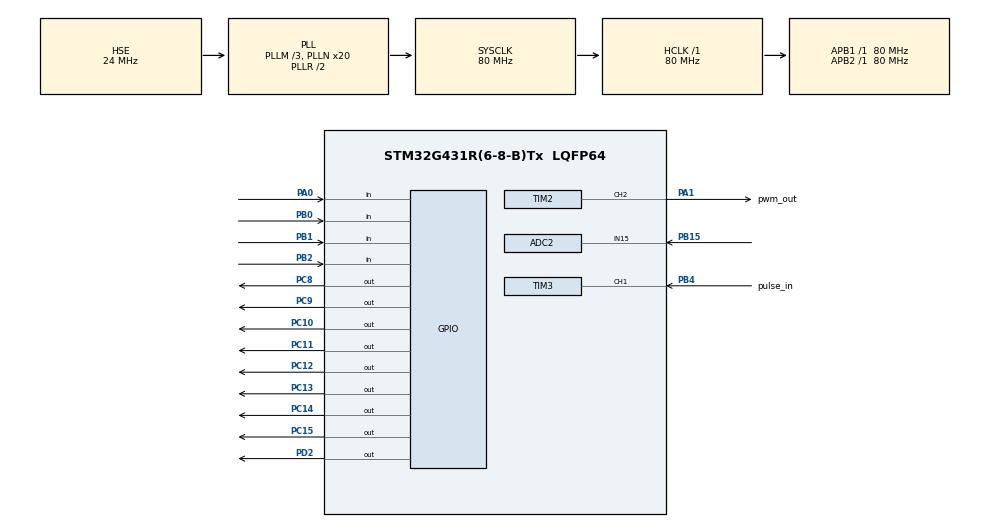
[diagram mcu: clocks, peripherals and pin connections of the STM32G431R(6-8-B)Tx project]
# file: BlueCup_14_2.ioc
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ADC2.Channel-0\#ChannelRegularConversion=ADC_CHANNEL_15
ADC2.NbrOfConversionFlag=1
ADC2.OffsetNumber-0\#ChannelRegularConversion=ADC_OFFSET_NONE
ADC2.Rank-0\#ChannelRegularConversion=1
ADC2.SamplingTime-0\#ChannelRegularConversion=ADC_SAMPLETIME_2CYCLES_5
Mcu.Family=STM32G4
Mcu.Name=STM32G431R(6-8-B)Tx
Mcu.Package=LQFP64
NVIC.PriorityGroup=NVIC_PRIORITYGROUP_4
NVIC.TIM3_IRQn=true\:0\:0\:false\:false\:true\:true\:true\:true
PA0.GPIO_Mode=GPIO_MODE_INPUT
PA0.GPIO_PuPd=GPIO_NOPULL
PA0.Signal=GPIO_Input
PA1.GPIO_Label=pwm_out
PA1.Signal=S_TIM2_CH2
PA13.Mode=Serial_Wire
PA13.Signal=SYS_JTMS-SWDIO
PA14.Mode=Serial_Wire
PA14.Signal=SYS_JTCK-SWCLK
PB0.GPIO_Mode=GPIO_MODE_INPUT
PB0.GPIO_PuPd=GPIO_NOPULL
PB0.Signal=GPIO_Input
PB1.GPIO_Mode=GPIO_MODE_INPUT
PB1.GPIO_PuPd=GPIO_NOPULL
PB1.Signal=GPIO_Input
PB15.Mode=IN15-Single-Ended
PB15.Signal=ADC2_IN15
PB2.GPIO_Mode=GPIO_MODE_INPUT
PB2.GPIO_PuPd=GPIO_NOPULL
PB2.Signal=GPIO_Input
PB4.GPIO_Label=pulse_in
PB4.Signal=S_TIM3_CH1
PC10.GPIO_ModeDefaultOutputPP=GPIO_MODE_OUTPUT_PP
PC10.GPIO_PuPd=GPIO_NOPULL
PC10.GPIO_Speed=GPIO_SPEED_FREQ_LOW
PC10.PinState=GPIO_PIN_SET
PC10.Signal=GPIO_Output
PC11.GPIO_ModeDefaultOutputPP=GPIO_MODE_OUTPUT_PP
PC11.GPIO_PuPd=GPIO_NOPULL
PC11.GPIO_Speed=GPIO_SPEED_FREQ_LOW
PC11.PinState=GPIO_PIN_SET
PC11.Signal=GPIO_Output
PC12.GPIO_ModeDefaultOutputPP=GPIO_MODE_OUTPUT_PP
PC12.GPIO_PuPd=GPIO_NOPULL
PC12.GPIO_Speed=GPIO_SPEED_FREQ_LOW
PC12.PinState=GPIO_PIN_SET
PC12.Signal=GPIO_Output
PC13.GPIO_ModeDefaultOutputPP=GPIO_MODE_OUTPUT_PP
PC13.GPIO_PuPd=GPIO_NOPULL
PC13.GPIO_Speed=GPIO_SPEED_FREQ_LOW
PC13.PinState=GPIO_PIN_SET
PC13.Signal=GPIO_Output
PC14-OSC32_IN.GPIO_ModeDefaultOutputPP=GPIO_MODE_OUTPUT_PP
PC14-OSC32_IN.GPIO_PuPd=GPIO_NOPULL
PC14-OSC32_IN.GPIO_Speed=GPIO_SPEED_FREQ_LOW
PC14-OSC32_IN.PinState=GPIO_PIN_SET
PC14-OSC32_IN.Signal=GPIO_Output
PC15-OSC32_OUT.GPIO_ModeDefaultOutputPP=GPIO_MODE_OUTPUT_PP
PC15-OSC32_OUT.GPIO_PuPd=GPIO_NOPULL
PC15-OSC32_OUT.GPIO_Speed=GPIO_SPEED_FREQ_LOW
PC15-OSC32_OUT.PinState=GPIO_PIN_SET
PC15-OSC32_OUT.Signal=GPIO_Output
PC8.GPIO_ModeDefaultOutputPP=GPIO_MODE_OUTPUT_PP
PC8.GPIO_PuPd=GPIO_NOPULL
PC8.GPIO_Speed=GPIO_SPEED_FREQ_LOW
PC8.PinState=GPIO_PIN_SET
PC8.Signal=GPIO_Output
PC9.GPIO_ModeDefaultOutputPP=GPIO_MODE_OUTPUT_PP
PC9.GPIO_PuPd=GPIO_NOPULL
PC9.GPIO_Speed=GPIO_SPEED_FREQ_LOW
PC9.PinState=GPIO_PIN_SET
PC9.Signal=GPIO_Output
PD2.PinState=GPIO_PIN_RESET
PD2.Signal=GPIO_Output
PF0-OSC_IN.Mode=HSE-External-Oscillator
PF0-OSC_IN.Signal=RCC_OSC_IN
PF1-OSC_OUT.Mode=HSE-External-Oscillator
PF1-OSC_OUT.Signal=RCC_OSC_OUT
ProjectManager.HeapSize=0x200
ProjectManager.StackSize=0x400
ProjectManager.TargetToolchain=MDK-ARM V5.32
RCC.ADC12Freq_Value=80000000
RCC.AHBFreq_Value=80000000
RCC.APB1Freq_Value=80000000
RCC.APB1TimFreq_Value=80000000
RCC.APB2Freq_Value=80000000
RCC.APB2TimFreq_Value=80000000
RCC.CortexFreq_Value=80000000
RCC.EXTERNAL_CLOCK_VALUE=12288000
RCC.HCLKFreq_Value=80000000
RCC.HSE_VALUE=24000000
RCC.HSI48_VALUE=48000000
RCC.HSI_VALUE=16000000
RCC.LSE_VALUE=32768
RCC.PLLM=RCC_PLLM_DIV3
RCC.PLLN=20
RCC.PLLSourceVirtual=RCC_PLLSOURCE_HSE
RCC.SYSCLKFreq_VALUE=80000000
RCC.SYSCLKSource=RCC_SYSCLKSOURCE_PLLCLK
RCC.USBFreq_Value=80000000
RCC.VCOOutputFreq_Value=160000000
SH.S_TIM2_CH2.0=TIM2_CH2,PWM Generation2 CH2
SH.S_TIM3_CH1.0=TIM3_CH1,Input_Capture1_from_TI1
TIM2.AutoReloadPreload=TIM_AUTORELOAD_PRELOAD_ENABLE
TIM2.Channel-PWM\ Generation2\ CH2=TIM_CHANNEL_2
TIM2.PeriodNoDither=250-1
TIM2.Prescaler=80-1
TIM2.PulseNoDither_2=0
TIM3.Channel-Input_Capture1_from_TI1=TIM_CHANNEL_1
TIM3.ICFilter_CH1=15
TIM3.Prescaler=80-1
VP_SYS_VS_DBSignals.Mode=DisableDeadBatterySignals
VP_TIM2_VS_ClockSourceINT.Mode=Internal
VP_TIM3_VS_ClockSourceINT.Mode=Internal
board=custom

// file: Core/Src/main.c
/* USER CODE BEGIN Header */
/**
  ******************************************************************************
  * @file           : main.c
  * @brief          : Main program body
  ******************************************************************************
  * @attention
  *
  * Copyright (c) 2025 STMicroelectronics.
  * All rights reserved.
  *
  * This software is licensed under terms that can be found in the LICENSE file
  * in the root directory of this software component.
  * If no LICENSE file comes with this software, it is provided AS-IS.
  *
  ******************************************************************************
  */
/* USER CODE END Header */
#include "main.h"
#include "adc.h"
#include "tim.h"
#include "gpio.h"

/* USER CODE BEGIN Includes */
#include <stdio.h>
#include <string.h>

#include "lcd.h"
#include "key.h"
#include "led.h"
#include "pulse.h"
#include "pwm.h"
#include "pot.h"
/* USER CODE END Includes */

/* USER CODE BEGIN PV */

Sys sys = {
    .page = 0,
    .mode = 0,//low
    .mode_turn_flag = 0,
    .lock_duty_flag = 0,

    .R = 1,
    .K = 1,
    .N = 0,//change time
    .ML = 0,// max low v
    .MH = 0,// max high v
};
/* USER CODE END PV */

void SystemClock_Config(void);

/* USER CODE BEGIN 0 */
void Ui_Proc(){
    char buff[20] = "";
    switch (sys.page)
    {
    	case 0:
            LCD_DisplayStringLine(Line1, (u8*)"        DATA");

            sprintf(buff, "     M = %c", sys.mode == 0? 'L':'H');
            LCD_DisplayStringLine(Line3, (u8*)buff);

            sprintf(buff, "     P = %-10d", pwm.duty);
            LCD_DisplayStringLine(Line4, (u8*)buff);

            sprintf(buff, "     V = %-8.1f", pulse.v);
            LCD_DisplayStringLine(Line5, (u8*)buff);

//            sprintf(buff, "   ARR = %-8d", htim2.Instance->ARR );
//            LCD_DisplayStringLine(Line6, (u8*)buff);
//            sprintf(buff, "   CCR = %-8d", htim2.Instance->CCR2 );
//            LCD_DisplayStringLine(Line7, (u8*)buff);
//            sprintf(buff, "   CNT = %-8d", htim2.Instance->CNT );
//            LCD_DisplayStringLine(Line8, (u8*)buff);

    		break;
    	case 1:
            LCD_DisplayStringLine(Line1, (u8*)"        PARA");

            sprintf(buff, "     R = %-10d", sys.R);
            LCD_DisplayStringLine(Line3, (u8*)buff);

            sprintf(buff, "     K = %-10d", sys.K);
            LCD_DisplayStringLine(Line4, (u8*)buff);
    		break;
    	default:
            LCD_DisplayStringLine(Line1, (u8*)"        RECD");

            sprintf(buff, "     N = %d", sys.N );
            LCD_DisplayStringLine(Line3, (u8*)buff);

            sprintf(buff, "     MH = %-5.1f", sys.MH);
            LCD_DisplayStringLine(Line4, (u8*)buff);

            sprintf(buff, "     ML = %-5.1f", sys.ML);
            LCD_DisplayStringLine(Line5, (u8*)buff);
    		break;
    }
}

void Key_Proc(){
    Key_Scan();
    uint8_t key1 = Key_GetFlag(1);
    uint8_t key2 = Key_GetFlag(2);
    uint8_t key3 = Key_GetFlag(3);
    uint8_t key4 = Key_GetFlag(4);
    static uint8_t line;

    switch (sys.page)
    {
    	case 0:
            if(key2 && sys.mode_turn_flag == 0){
                sys.mode_turn_flag = 1;
            }
            if(key4 == 1){
                sys.lock_duty_flag = 0;
            }
            if(key4 == 2){
                sys.lock_duty_flag = 1;
            }
    		break;
    	case 1:
            if(key2){
                line ^= 1;
            }
            if(key3){
                switch (line)
                {
                	case 0:
                        if(++sys.R == 11) sys.R = 1;
                		break;
                	case 1:
                        if(++sys.K == 11) sys.K = 1;
                		break;
                }
            }
            if(key4){
                switch (line)
                {
                	case 0:
                        if(--sys.R == 0) sys.R = 10;
                		break;
                	case 1:
                        if(--sys.K == 0) sys.K = 10;
                		break;
                }
            }
    		break;
    	default:
    		break;
    }
    if(key1){
        LCD_Clear(Black);
        line = 0;
        pulse.R = sys.R;
        pulse.K = sys.K;
        if(++sys.page == 3) sys.page = 0;
    }
}

void Pluse_Proc(){
    if(sys.pulse_timer < 10) return;
    sys.pulse_timer = 0;

    Pulse_Updata();
    if(sys.mode){
        sys.MH = sys.MH > pulse.v ? sys.MH:pulse.v;
    }else{
        sys.ML = sys.ML > pulse.v ? sys.ML:pulse.v;
    }
}

void Pot_Proc(){
    if(sys.lock_duty_flag == 1 ) return;
    Pot_Updata();
    if(pot.volt <= 1) pwm.duty = 10;
    else if(pot.volt >= 3) pwm.duty = 85;
    else pwm.duty = 10 + (pot.volt - 1) * ((85 - 10) / (3 - 1));
}

void Pwm_Proc(){
    //100 times, 50ms one time, change 40Hz every time.
    Pwm_Updata();

    if(sys.mode_timer < 50) return;
    sys.mode_timer = 0;

    if(sys.mode_turn_flag){
        switch (sys.mode)
        {
        	case 0:
                pwm.freq += 40;
                if(pwm.freq == 8000){
                    sys.mode_turn_flag = 0;
                    sys.mode = 1;
                    sys.N++;
                }
        		break;
        	case 1:
                pwm.freq -= 40;
                if(pwm.freq == 4000){
                    sys.mode_turn_flag = 0;
                    sys.mode = 0;
                    sys.N++;
                }
        		break;
        }
    }
}
void Led_Proc(){
    if(sys.page == 0) led.state |= 0x01;
    else led.state &= ~0x01;
    if(sys.mode_turn_flag && sys.led_timer >= 100) {
        sys.led_timer = 0;

        if( led.state & (0x01 << 1) )led.state &= ~(0x01 << 1);
        else led.state |= (0x01 << 1);
    } else{
        led.state &= ~(0x01 << 1);
    }
    if(sys.lock_duty_flag) led.state |= (0x01 << 2);
    else led.state &= ~(0x01 << 2);
    Led_Set();
}
/* USER CODE END 0 */

int main(void)
{

  /* MCU Configuration--------------------------------------------------------*/

  /* Reset of all peripherals, Initializes the Flash interface and the Systick. */
  HAL_Init();

  /* Configure the system clock */
  SystemClock_Config();

  /* Initialize all configured peripherals */
  MX_GPIO_Init();
  MX_ADC2_Init();
  MX_TIM2_Init();
  MX_TIM3_Init();
  /* USER CODE BEGIN 2 */
    LCD_Init();
    LCD_SetBackColor(Black);
    LCD_SetTextColor(White);
    LCD_Clear(Black);

  /* USER CODE END 2 */

  /* Infinite loop */
  /* USER CODE BEGIN WHILE */
  while (1)
  {
      Pot_Proc();
      Pluse_Proc();

      Key_Proc();
      Pwm_Proc();

      Ui_Proc();
      Led_Proc();
//      HAL_Delay(20);
//      static char s[30];
//      static int cnt = 0;
//      sprintf(s,"%.2f   %.2f",pulse.freq,pulse.v);
//      LCD_DisplayStringLine(Line0,(u8*)s);
    /* USER CODE END WHILE */

  }
}

void SystemClock_Config(void)
{
  RCC_OscInitTypeDef RCC_OscInitStruct = {0};
  RCC_ClkInitTypeDef RCC_ClkInitStruct = {0};

  /** Configure the main internal regulator output voltage
  */
  HAL_PWREx_ControlVoltageScaling(PWR_REGULATOR_VOLTAGE_SCALE1);

  /** Initializes the RCC Oscillators according to the specified parameters
  * in the RCC_OscInitTypeDef structure.
  */
  RCC_OscInitStruct.OscillatorType = RCC_OSCILLATORTYPE_HSE;
  RCC_OscInitStruct.HSEState = RCC_HSE_ON;
  RCC_OscInitStruct.PLL.PLLState = RCC_PLL_ON;
  RCC_OscInitStruct.PLL.PLLSource = RCC_PLLSOURCE_HSE;
  RCC_OscInitStruct.PLL.PLLM = RCC_PLLM_DIV3;
  RCC_OscInitStruct.PLL.PLLN = 20;
  RCC_OscInitStruct.PLL.PLLP = RCC_PLLP_DIV2;
  RCC_OscInitStruct.PLL.PLLQ = RCC_PLLQ_DIV2;
  RCC_OscInitStruct.PLL.PLLR = RCC_PLLR_DIV2;
  if (HAL_RCC_OscConfig(&RCC_OscInitStruct) != HAL_OK)
  {
    Error_Handler();
  }

  /** Initializes the CPU, AHB and APB buses clocks
  */
  RCC_ClkInitStruct.ClockType = RCC_CLOCKTYPE_HCLK|RCC_CLOCKTYPE_SYSCLK
                              |RCC_CLOCKTYPE_PCLK1|RCC_CLOCKTYPE_PCLK2;
  RCC_ClkInitStruct.SYSCLKSource = RCC_SYSCLKSOURCE_PLLCLK;
  RCC_ClkInitStruct.AHBCLKDivider = RCC_SYSCLK_DIV1;
  RCC_ClkInitStruct.APB1CLKDivider = RCC_HCLK_DIV1;
  RCC_ClkInitStruct.APB2CLKDivider = RCC_HCLK_DIV1;

  if (HAL_RCC_ClockConfig(&RCC_ClkInitStruct, FLASH_LATENCY_2) != HAL_OK)
  {
    Error_Handler();
  }
}

void Error_Handler(void)
{
  __disable_irq();
  while (1)
  {
  }
}
